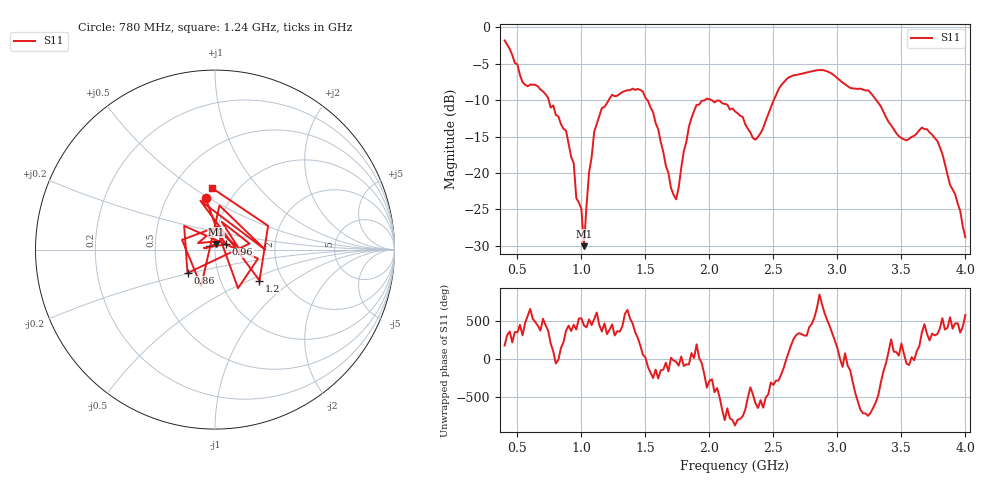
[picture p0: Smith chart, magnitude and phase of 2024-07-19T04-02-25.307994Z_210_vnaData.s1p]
!Created with skrf (http://scikit-rf.org).
# Hz S RI R 50.0
!freq ReS11 ImS11
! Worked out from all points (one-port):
!   181 points, 400 MHz to 4 GHz, reference 50 ohm
!   lowest |S11| = -30.0 dB at 1.02 GHz (marker M1), VSWR 1.06, Z = 50.4 + j3.13 ohm
!   |S11| at or under -10 dB: 744.8 MHz to 1.213 GHz (468.2 MHz wide, 47.8 % of centre); 2.019 GHz to 2.502 GHz (483.1 MHz wide, 21.4 % of centre); 3.304 GHz to end of sweep (the widest 3 of 4)
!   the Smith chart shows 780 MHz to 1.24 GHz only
!   S11 on the Smith chart (normalised r, x): 780 MHz: 0.77, +0.48; 860 MHz: 0.71, -0.19; 960 MHz: 1.13, +0.07; 1.2 GHz: 1.53, -0.58; 1.24 GHz: 0.76, +0.60
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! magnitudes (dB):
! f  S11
! 400 MHz  -1.8
! 540 MHz  -7.5
! 780 MHz  -10.7
! 860 MHz  -13.9
! 940 MHz  -18.7
! 960 MHz  -23.4
! 1 GHz  -25.0
! 1.02 GHz  -30.0
! 1.06 GHz  -19.9
! 1.1 GHz  -14.4
! 1.2 GHz  -10.4
! 1.24 GHz  -9.3
! 1.3 GHz  -9.1
! 1.48 GHz  -8.8
! 1.6 GHz  -14.0
! 1.7 GHz  -22.1
! 1.76 GHz  -22.0
! 1.84 GHz  -13.6
! 1.9 GHz  -10.6
! 2.2 GHz  -11.5
! 2.36 GHz  -15.4
! 2.66 GHz  -6.6
! 3.1 GHz  -8.3
! 3.24 GHz  -8.7
! 3.56 GHz  -15.3
! 3.66 GHz  -13.8
! 3.78 GHz  -15.6
! 4 GHz  -28.8
